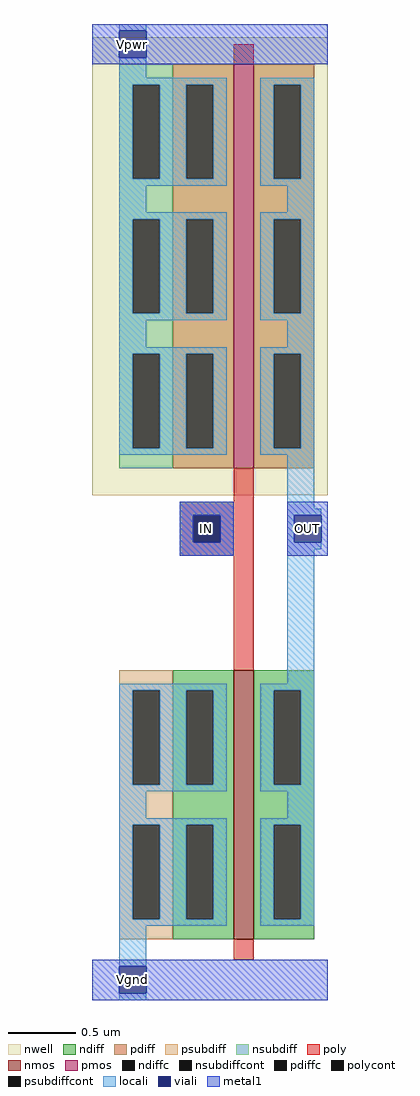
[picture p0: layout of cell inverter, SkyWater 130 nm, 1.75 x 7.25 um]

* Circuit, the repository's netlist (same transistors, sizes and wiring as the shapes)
* NGSPICE file created from inverter.ext - technology: sky130A

.subckt inverter IN OUT Vpwr Vgnd
X0 OUT IN Vpwr Vpwr sky130_fd_pr__pfet_01v8 ad=1.35 pd=6.9 as=1.35 ps=6.9 w=3 l=0.15
X1 OUT IN Vgnd Vgnd sky130_fd_pr__nfet_01v8 ad=0.9 pd=4.9 as=0.9 ps=4.9 w=2 l=0.15
.ends

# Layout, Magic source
magic
tech sky130A
<< nwell >>
rect -105 180 70 520
<< nmos >>
rect 0 -150 15 50
<< pmos >>
rect 0 200 15 500
<< ndiff >>
rect -45 35 0 50
rect -45 -35 -35 35
rect -15 -35 0 35
rect -45 -65 0 -35
rect -45 -135 -35 -65
rect -15 -135 0 -65
rect -45 -150 0 -135
rect 15 35 60 50
rect 15 -35 30 35
rect 50 -35 60 35
rect 15 -65 60 -35
rect 15 -135 30 -65
rect 50 -135 60 -65
rect 15 -150 60 -135
<< pdiff >>
rect -45 485 0 500
rect -45 415 -35 485
rect -15 415 0 485
rect -45 385 0 415
rect -45 315 -35 385
rect -15 315 0 385
rect -45 285 0 315
rect -45 215 -35 285
rect -15 215 0 285
rect -45 200 0 215
rect 15 485 60 500
rect 15 415 30 485
rect 50 415 60 485
rect 15 385 60 415
rect 15 315 30 385
rect 50 315 60 385
rect 15 285 60 315
rect 15 215 30 285
rect 50 215 60 285
rect 15 200 60 215
<< ndiffc >>
rect -35 -35 -15 35
rect -35 -135 -15 -65
rect 30 -35 50 35
rect 30 -135 50 -65
<< pdiffc >>
rect -35 415 -15 485
rect -35 315 -15 385
rect -35 215 -15 285
rect 30 415 50 485
rect 30 315 50 385
rect 30 215 50 285
<< psubdiff >>
rect -85 35 -45 50
rect -85 -35 -75 35
rect -55 -35 -45 35
rect -85 -65 -45 -35
rect -85 -135 -75 -65
rect -55 -135 -45 -65
rect -85 -150 -45 -135
<< nsubdiff >>
rect -85 485 -45 500
rect -85 415 -75 485
rect -55 415 -45 485
rect -85 385 -45 415
rect -85 315 -75 385
rect -55 315 -45 385
rect -85 285 -45 315
rect -85 215 -75 285
rect -55 215 -45 285
rect -85 200 -45 215
<< psubdiffcont >>
rect -75 -35 -55 35
rect -75 -135 -55 -65
<< nsubdiffcont >>
rect -75 415 -55 485
rect -75 315 -55 385
rect -75 215 -55 285
<< poly >>
rect 0 500 15 515
rect 0 175 15 200
rect -40 165 15 175
rect -40 145 -30 165
rect -10 145 15 165
rect -40 135 15 145
rect 0 50 15 135
rect 0 -165 15 -150
<< polycont >>
rect -30 145 -10 165
<< locali >>
rect -85 525 -65 530
rect -85 490 -65 505
rect -85 485 -5 490
rect -85 415 -75 485
rect -55 415 -35 485
rect -15 415 -5 485
rect -85 410 -5 415
rect 20 485 60 490
rect 20 415 30 485
rect 50 415 60 485
rect 20 410 60 415
rect -85 390 -65 410
rect 40 390 60 410
rect -85 385 -5 390
rect -85 315 -75 385
rect -55 315 -35 385
rect -15 315 -5 385
rect -85 310 -5 315
rect 20 385 60 390
rect 20 315 30 385
rect 50 315 60 385
rect 20 310 60 315
rect -85 290 -65 310
rect 40 290 60 310
rect -85 285 -5 290
rect -85 215 -75 285
rect -55 215 -35 285
rect -15 215 -5 285
rect -85 210 -5 215
rect 20 285 60 290
rect 20 215 30 285
rect 50 215 60 285
rect 20 210 60 215
rect -40 165 0 175
rect -40 145 -30 165
rect -10 145 0 165
rect -40 135 0 145
rect 40 170 60 210
rect 40 165 65 170
rect 40 145 45 165
rect 40 140 65 145
rect 40 40 60 140
rect -85 35 -5 40
rect -85 -35 -75 35
rect -55 -35 -35 35
rect -15 -35 -5 35
rect -85 -40 -5 -35
rect 20 35 60 40
rect 20 -35 30 35
rect 50 -35 60 35
rect 20 -40 60 -35
rect -85 -60 -65 -40
rect 40 -60 60 -40
rect -85 -65 -5 -60
rect -85 -135 -75 -65
rect -55 -135 -35 -65
rect -15 -135 -5 -65
rect -85 -140 -5 -135
rect 20 -65 60 -60
rect 20 -135 30 -65
rect 50 -135 60 -65
rect 20 -140 60 -135
rect -85 -170 -65 -140
rect -85 -195 -65 -190
<< viali >>
rect -85 505 -65 525
rect -30 145 -10 165
rect 45 145 65 165
rect -85 -190 -65 -170
<< metal1 >>
rect -105 525 70 530
rect -105 505 -85 525
rect -65 505 70 525
rect -105 500 70 505
rect -40 165 0 175
rect -40 145 -30 165
rect -10 145 0 165
rect -40 135 0 145
rect 40 165 70 175
rect 40 145 45 165
rect 65 145 70 165
rect 40 135 70 145
rect -105 -170 70 -165
rect -105 -190 -85 -170
rect -65 -190 70 -170
rect -105 -195 70 -190
<< labels >>
flabel viali -85 -190 -65 -170 1 FreeSans 200 0 0 0 Vgnd
port 4 n
flabel viali -85 505 -65 525 1 FreeSans 200 0 0 0 Vpwr
port 3 n
flabel metal1 -30 145 -10 165 1 FreeSans 200 0 0 0 IN
port 1 n
flabel metal1 40 135 70 175 1 FreeSans 200 0 0 0 OUT
port 2 n
<< end >>
